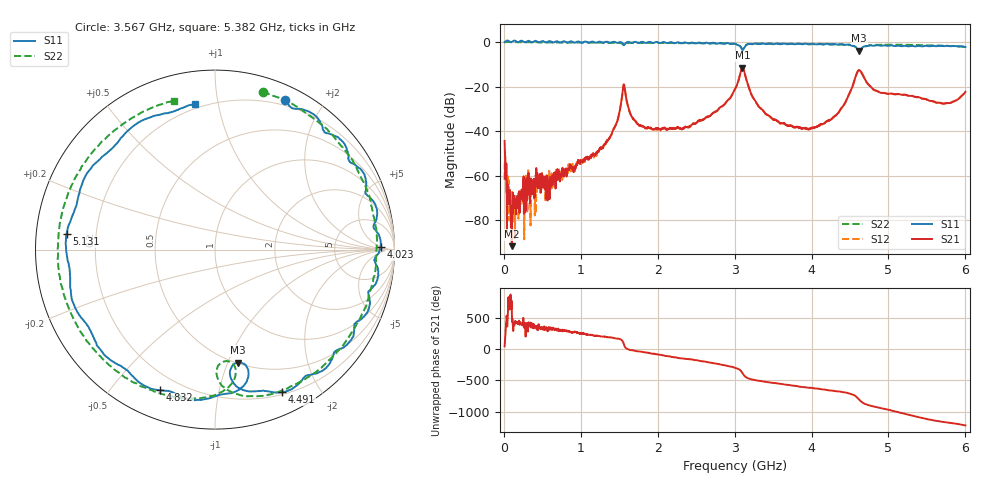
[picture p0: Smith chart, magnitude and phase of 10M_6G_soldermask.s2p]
!Keysight Technologies,N5234A,MY55441333,A.10.60.03
!Date: Thursday, July 10, 2025 13:59:45
!Correction: S11(Full 2 Port(1,2))
!S21(Full 2 Port(1,2))
!S12(Full 2 Port(1,2))
!S22(Full 2 Port(1,2))
!S2P File: Measurements: S11, S21, S12, S22:
# Hz S  RI  R 50
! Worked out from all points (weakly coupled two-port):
!   1601 points, 10 MHz to 6 GHz, reference 50 ohm
!   highest |S21| = -11.50 dB at 3.102 GHz (marker M1); lowest = -91.6 dB at 103.6 MHz (marker M2)
!   lowest |S11| = -3.8 dB at 4.619 GHz (marker M3), VSWR 4.59, Z = 25.4 - j54.4 ohm
!   |S11| at or under -10 dB: nowhere
!   |S22| runs from -4.1 to 0.1 dB; largest |S21 - S12| = 0.0061
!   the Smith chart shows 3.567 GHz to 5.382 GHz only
!   S11 on the Smith chart (normalised r, x): 3.567 GHz: 0.14, +1.56; 4.023 GHz: 24, +4; 4.491 GHz: 0.22, -1.55; 4.832 GHz: 0.13, -0.68; 5.131 GHz: 0.09, +0.05; 5.382 GHz: 0.17, +0.86
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1e7  1.002 -0.00856  0.00433 0.00422  0.000577 -0.000584  1.003 -0.0327
1.035938e8  0.9601 -0.3198  -1.12e-05 -2.37e-05  0.00031 -4.56e-05  0.9387 -0.3438
5.04175e8  -0.1308 -1.051  0.000454 -0.000503  0.000433 -0.000881  -0.1161 -0.9858
1.009581e9  -0.9649 0.1391  -0.000542 -0.00193  -0.000679 -0.00174  -0.9723 0.1031
1.372725e9  -0.3714 0.898  -0.00677 -0.000877  -0.00689 -0.000841  -0.4126 0.8803
1.559912e9  0.0745 0.8571  0.0233 0.1107  0.0224 0.109  0.0374 0.8539
1.739612e9  0.5297 0.8168  0.0115 -0.00872  0.0117 -0.00826  0.4903 0.8326
2.009162e9  0.9522 0.2417  0.000372 -0.0112  0.000567 -0.0111  0.9199 0.2667
2.552006e9  0.1122 -0.9639  -0.0173 0.0031  -0.017 0.00289  0.0834 -0.9426
3.005e9  -0.911 0.152  0.0414 0.0783  0.0401 0.0777  -0.9029 0.1084
3.102338e9  -0.6022 0.2971  0.2429 -0.1088  0.2399 -0.105  -0.6321 0.2674
3.566562e9  0.3896 0.8352  -0.0163 0.00376  -0.016 0.00358  0.2677 0.88
4.004581e9  0.9174 0.0702  -0.00178 0.0114  -0.0019 0.0117  0.8989 0.105
4.0233e9  0.9225 0.0124  -0.000825 0.0118  -0.00118 0.012  0.9029 0.0617
4.491269e9  0.3734 -0.7951  0.0687 0.0126  0.0682 0.0138  0.3088 -0.8068
4.618556e9  0.1275 -0.6292  0.0154 -0.2354  0.0185 -0.2336  0.0636 -0.621
4.83195e9  -0.306 -0.7832  -0.0764 0.0312  -0.076 0.0299  -0.4258 -0.7539
5.004162e9  -0.7234 -0.4057  -0.0238 0.0645  -0.0247 0.0641  -0.8164 -0.3224
5.13145e9  -0.8272 0.088  0.0218 0.065  0.0211 0.0645  -0.8647 0.1479
5.382281e9  -0.1111 0.8137  0.0585 -0.00338  0.0581 -0.003  -0.2266 0.8301
5.67055e9  0.747 0.3645  0.0112 -0.0419  0.0117 -0.0413  0.6651 0.5034
6e9  0.6737 -0.393  -0.0578 -0.0505  -0.0572 -0.0511  0.6929 -0.3646
